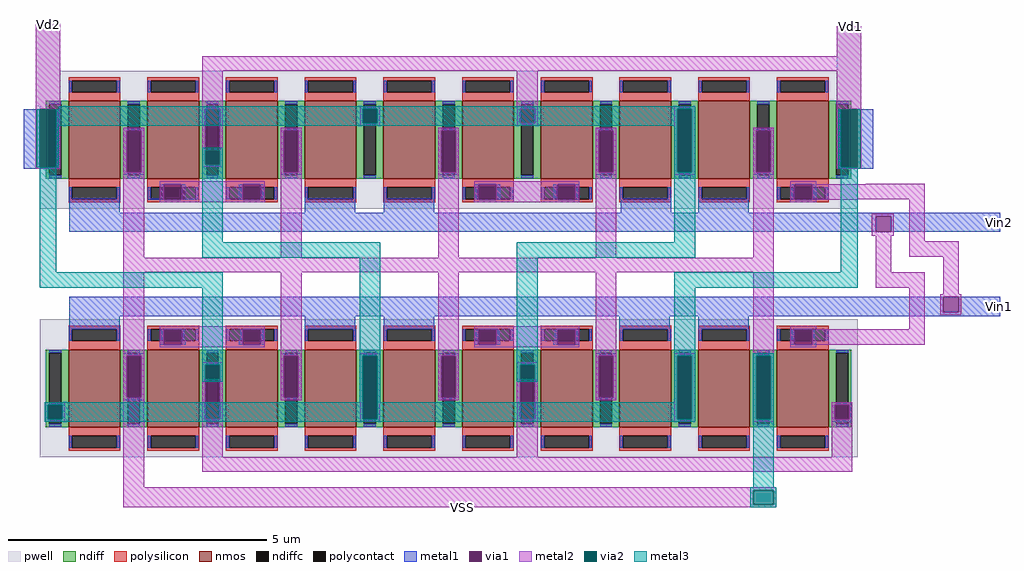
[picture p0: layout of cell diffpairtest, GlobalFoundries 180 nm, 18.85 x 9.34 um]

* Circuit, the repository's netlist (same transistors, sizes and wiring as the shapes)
* NGSPICE file created from diffpairtest.ext - technology: gf180mcuD

.subckt diffpairtest Vin1 VSS Vd1 Vd2 Vin2
X0 VSS a_10376_2164# Vd2 VSUBS nfet_03v3 ad=0.39p pd=2.02u as=0.39p ps=2.02u w=1.5u l=1u
X1 VSS Vin2 Vd2 VSUBS nfet_03v3 ad=0.39p pd=2.02u as=0.39p ps=2.02u w=1.5u l=1u
X2 VSS a_10376_3124# Vd1 VSUBS nfet_03v3 ad=0.39p pd=2.02u as=0.39p ps=2.02u w=1.5u l=1u
X3 Vd1 Vin1 VSS VSUBS nfet_03v3 ad=0.39p pd=2.02u as=0.39p ps=2.02u w=1.5u l=1u
X4 VSS Vin1 Vd1 VSUBS nfet_03v3 ad=0.39p pd=2.02u as=0.66p ps=3.88u w=1.5u l=1u
X5 Vd1 Vin1 VSS VSUBS nfet_03v3 ad=0.39p pd=2.02u as=0.39p ps=2.02u w=1.5u l=1u
X6 Vd2 a_11592_2164# VSS VSUBS nfet_03v3 ad=0.39p pd=2.02u as=0.39p ps=2.02u w=1.5u l=1u
X7 Vd2 Vin2 VSS VSUBS nfet_03v3 ad=0.39p pd=2.02u as=0.39p ps=2.02u w=1.5u l=1u
X8 VSS Vin2 Vd2 VSUBS nfet_03v3 ad=0.39p pd=2.02u as=0.66p ps=3.88u w=1.5u l=1u
X9 Vd2 Vin2 VSS VSUBS nfet_03v3 ad=0.39p pd=2.02u as=0.39p ps=2.02u w=1.5u l=1u
X10 VSS Vin1 Vd1 VSUBS nfet_03v3 ad=0.39p pd=2.02u as=0.39p ps=2.02u w=1.5u l=1u
X11 Vd2 a_10376_2164# VSS VSUBS nfet_03v3 ad=0.39p pd=2.02u as=0.39p ps=2.02u w=1.5u l=1u
X12 Vd1 a_11592_3124# VSS VSUBS nfet_03v3 ad=0.39p pd=2.02u as=0.39p ps=2.02u w=1.5u l=1u
X13 VSS a_11592_2164# Vd2 VSUBS nfet_03v3 ad=0.39p pd=2.02u as=0.39p ps=2.02u w=1.5u l=1u
X14 VSS Vin2 Vd2 VSUBS nfet_03v3 ad=0.39p pd=2.02u as=0.39p ps=2.02u w=1.5u l=1u
X15 Vd1 a_10376_3124# VSS VSUBS nfet_03v3 ad=0.39p pd=2.02u as=0.39p ps=2.02u w=1.5u l=1u
X16 Vd2 Vin2 VSS VSUBS nfet_03v3 ad=0.66p pd=3.88u as=0.39p ps=2.02u w=1.5u l=1u
X17 VSS a_11592_3124# Vd1 VSUBS nfet_03v3 ad=0.39p pd=2.02u as=0.39p ps=2.02u w=1.5u l=1u
X18 VSS Vin1 Vd1 VSUBS nfet_03v3 ad=0.39p pd=2.02u as=0.39p ps=2.02u w=1.5u l=1u
X19 Vd1 Vin1 VSS VSUBS nfet_03v3 ad=0.66p pd=3.88u as=0.39p ps=2.02u w=1.5u l=1u
.ends

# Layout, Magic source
magic
tech gf180mcuD
magscale 1 10
<< pwell >>
rect 9945 3495 10040 3814
rect 13040 3485 13135 3804
rect 13055 3235 13120 3250
rect 10430 3135 10520 3205
rect 10430 3125 10520 3130
rect 10588 2140 10668 2235
<< polysilicon >>
rect 10430 3135 10520 3205
rect 10430 3125 10520 3130
<< metal1 >>
rect 10588 3486 10668 3496
rect 9900 3260 9960 3485
rect 10025 3260 10035 3485
rect 9900 3255 10035 3260
rect 10284 3402 10364 3412
rect 10284 3241 10296 3402
rect 10352 3241 10364 3402
rect 10588 3269 10600 3486
rect 10656 3269 10668 3486
rect 11196 3486 11276 3496
rect 11196 3430 11208 3486
rect 11264 3430 11276 3486
rect 11196 3420 11276 3430
rect 11804 3486 11884 3496
rect 11804 3430 11816 3486
rect 11872 3430 11884 3486
rect 11804 3420 11884 3430
rect 12412 3486 12492 3496
rect 10588 3261 10668 3269
rect 10892 3402 10972 3412
rect 10284 3231 10364 3241
rect 10892 3241 10904 3402
rect 10960 3241 10972 3402
rect 10892 3231 10972 3241
rect 11500 3402 11580 3412
rect 11500 3241 11512 3402
rect 11568 3241 11580 3402
rect 11500 3231 11580 3241
rect 12108 3402 12188 3412
rect 12108 3241 12120 3402
rect 12176 3241 12188 3402
rect 12108 3231 12188 3241
rect 12412 3241 12424 3486
rect 12480 3241 12492 3486
rect 12412 3231 12492 3241
rect 12716 3402 12796 3412
rect 12716 3241 12728 3402
rect 12784 3241 12796 3402
rect 13045 3260 13055 3485
rect 13120 3260 13180 3485
rect 13045 3255 13180 3260
rect 12716 3231 12796 3241
rect 10425 3140 10440 3195
rect 10075 3085 10270 3140
rect 10380 3135 10440 3140
rect 10510 3140 10525 3195
rect 10510 3135 10565 3140
rect 10730 3135 10745 3195
rect 10815 3135 10830 3195
rect 10985 3085 11180 3140
rect 11290 3085 11485 3140
rect 11640 3135 11655 3195
rect 11725 3135 11740 3195
rect 11945 3135 11960 3195
rect 12030 3135 12045 3195
rect 12205 3085 12400 3140
rect 12505 3085 12700 3140
rect 12860 3135 12875 3195
rect 12945 3135 12960 3195
rect 10075 3070 13670 3085
rect 10075 3010 13190 3070
rect 13250 3010 13670 3070
rect 10075 2700 13450 2760
rect 13510 2700 13670 2760
rect 10075 2685 13670 2700
rect 10075 2635 10270 2685
rect 10985 2635 11180 2685
rect 11290 2635 11485 2685
rect 12200 2635 12395 2685
rect 12505 2635 12700 2685
rect 10430 2590 10440 2635
rect 10425 2575 10440 2590
rect 10510 2590 10520 2635
rect 10735 2590 10745 2635
rect 10510 2575 10525 2590
rect 10730 2575 10745 2590
rect 10815 2590 10825 2635
rect 11645 2590 11655 2635
rect 10815 2575 10830 2590
rect 11640 2575 11655 2590
rect 11725 2590 11735 2635
rect 11950 2590 11960 2635
rect 11725 2575 11740 2590
rect 11945 2575 11960 2590
rect 12030 2590 12040 2635
rect 12865 2590 12875 2635
rect 12030 2575 12045 2590
rect 12860 2575 12875 2590
rect 12945 2590 12955 2635
rect 12945 2575 12960 2590
rect 10284 2531 10364 2541
rect 10284 2370 10296 2531
rect 10352 2370 10364 2531
rect 10892 2531 10972 2541
rect 10284 2360 10364 2370
rect 10588 2497 10668 2507
rect 9980 2342 10060 2352
rect 9980 2286 9992 2342
rect 10048 2286 10060 2342
rect 9980 2276 10060 2286
rect 10588 2286 10600 2497
rect 10656 2286 10668 2497
rect 10892 2370 10904 2531
rect 10960 2370 10972 2531
rect 10892 2360 10972 2370
rect 11196 2531 11276 2541
rect 10588 2276 10668 2286
rect 11196 2286 11208 2531
rect 11264 2286 11276 2531
rect 11500 2531 11580 2541
rect 11500 2370 11512 2531
rect 11568 2370 11580 2531
rect 12108 2531 12188 2541
rect 11500 2360 11580 2370
rect 11804 2497 11884 2507
rect 11196 2276 11276 2286
rect 11804 2286 11816 2497
rect 11872 2286 11884 2497
rect 12108 2370 12120 2531
rect 12176 2370 12188 2531
rect 12108 2360 12188 2370
rect 12412 2531 12492 2541
rect 11804 2276 11884 2286
rect 12412 2286 12424 2531
rect 12480 2286 12492 2531
rect 12412 2276 12492 2286
rect 12716 2531 12796 2541
rect 12716 2286 12728 2531
rect 12784 2286 12796 2531
rect 12716 2276 12796 2286
rect 13020 2343 13100 2353
rect 13020 2286 13032 2343
rect 13088 2286 13100 2343
rect 13020 2276 13100 2286
<< via1 >>
rect 9960 3260 10025 3485
rect 10296 3241 10352 3402
rect 10600 3269 10656 3486
rect 11208 3430 11264 3486
rect 11816 3430 11872 3486
rect 10904 3241 10960 3402
rect 11512 3241 11568 3402
rect 12120 3241 12176 3402
rect 12424 3241 12480 3486
rect 12728 3241 12784 3402
rect 13055 3260 13120 3485
rect 10440 3135 10510 3195
rect 10745 3135 10815 3195
rect 11655 3135 11725 3195
rect 11960 3135 12030 3195
rect 12875 3135 12945 3195
rect 13190 3010 13250 3070
rect 13450 2700 13510 2760
rect 10440 2575 10510 2635
rect 10745 2575 10815 2635
rect 11655 2575 11725 2635
rect 11960 2575 12030 2635
rect 12875 2575 12945 2635
rect 10296 2370 10352 2531
rect 9992 2286 10048 2342
rect 10600 2286 10656 2497
rect 10904 2370 10960 2531
rect 11208 2286 11264 2531
rect 11512 2370 11568 2531
rect 11816 2286 11872 2497
rect 12120 2370 12176 2531
rect 12424 2286 12480 2531
rect 12728 2286 12784 2531
rect 13032 2286 13088 2343
<< metal2 >>
rect 9945 3485 10040 3814
rect 13040 3688 13135 3804
rect 9945 3260 9960 3485
rect 10025 3260 10040 3485
rect 10588 3632 13135 3688
rect 10588 3486 10668 3632
rect 9945 3255 10040 3260
rect 10284 3402 10364 3412
rect 10284 3241 10296 3402
rect 10352 3241 10364 3402
rect 10588 3269 10600 3486
rect 10656 3269 10668 3486
rect 11196 3486 11276 3496
rect 11196 3430 11208 3486
rect 11264 3430 11276 3486
rect 11196 3420 11276 3430
rect 11804 3486 11884 3632
rect 11804 3430 11816 3486
rect 11872 3430 11884 3486
rect 11804 3420 11884 3430
rect 12412 3486 12492 3496
rect 10588 3261 10668 3269
rect 10892 3402 10972 3412
rect 10284 2911 10364 3241
rect 10892 3241 10904 3402
rect 10960 3241 10972 3402
rect 10425 3195 10830 3205
rect 10425 3135 10440 3195
rect 10510 3135 10745 3195
rect 10815 3135 10830 3195
rect 10425 3125 10830 3135
rect 10892 2911 10972 3241
rect 11500 3402 11580 3412
rect 11500 3241 11512 3402
rect 11568 3241 11580 3402
rect 11500 2911 11580 3241
rect 12108 3402 12188 3412
rect 12108 3241 12120 3402
rect 12176 3241 12188 3402
rect 11640 3195 12045 3205
rect 11640 3135 11655 3195
rect 11725 3135 11960 3195
rect 12030 3135 12045 3195
rect 11640 3125 12045 3135
rect 12108 2911 12188 3241
rect 12412 3241 12424 3486
rect 12480 3241 12492 3486
rect 13040 3485 13135 3632
rect 12412 3231 12492 3241
rect 12716 3402 12796 3412
rect 12716 3241 12728 3402
rect 12784 3241 12796 3402
rect 13040 3260 13055 3485
rect 13120 3260 13135 3485
rect 13040 3255 13135 3260
rect 12716 2911 12796 3241
rect 12860 3195 12960 3205
rect 13154 3195 13380 3196
rect 12860 3135 12875 3195
rect 12945 3136 13380 3195
rect 12945 3135 13119 3136
rect 12860 3125 12960 3135
rect 13175 3070 13260 3080
rect 13175 3010 13190 3070
rect 13250 3010 13260 3070
rect 13175 2995 13260 3010
rect 10284 2855 12796 2911
rect 10284 2531 10364 2855
rect 10425 2635 10830 2645
rect 10425 2575 10440 2635
rect 10510 2575 10745 2635
rect 10815 2575 10830 2635
rect 10425 2565 10830 2575
rect 10284 2370 10296 2531
rect 10352 2370 10364 2531
rect 10892 2531 10972 2855
rect 9980 2342 10060 2352
rect 9980 2286 9992 2342
rect 10048 2286 10060 2342
rect 9980 2276 10060 2286
rect 10284 2024 10364 2370
rect 10588 2497 10668 2507
rect 10588 2286 10600 2497
rect 10656 2286 10668 2497
rect 10892 2370 10904 2531
rect 10960 2370 10972 2531
rect 10892 2360 10972 2370
rect 11196 2531 11276 2541
rect 10588 2140 10668 2286
rect 11196 2286 11208 2531
rect 11264 2286 11276 2531
rect 11500 2531 11580 2855
rect 11640 2635 12045 2645
rect 11640 2575 11655 2635
rect 11725 2575 11960 2635
rect 12030 2575 12045 2635
rect 11640 2565 12045 2575
rect 11500 2370 11512 2531
rect 11568 2370 11580 2531
rect 12108 2531 12188 2855
rect 11500 2360 11580 2370
rect 11804 2497 11884 2507
rect 11196 2276 11276 2286
rect 11804 2286 11816 2497
rect 11872 2286 11884 2497
rect 12108 2370 12120 2531
rect 12176 2370 12188 2531
rect 12108 2360 12188 2370
rect 12412 2531 12492 2541
rect 11804 2140 11884 2286
rect 12412 2286 12424 2531
rect 12480 2286 12492 2531
rect 12412 2276 12492 2286
rect 12716 2531 12796 2855
rect 13190 2855 13250 2995
rect 13320 2975 13380 3136
rect 13320 2915 13510 2975
rect 13190 2795 13380 2855
rect 12860 2635 12960 2645
rect 13320 2635 13380 2795
rect 13450 2770 13510 2915
rect 13440 2760 13520 2770
rect 13440 2700 13450 2760
rect 13510 2700 13520 2760
rect 13440 2690 13520 2700
rect 12860 2575 12875 2635
rect 12945 2575 13380 2635
rect 12860 2565 12960 2575
rect 12716 2286 12728 2531
rect 12784 2286 12796 2531
rect 12716 2276 12796 2286
rect 13020 2343 13100 2353
rect 13020 2286 13032 2343
rect 13088 2286 13100 2343
rect 13020 2140 13100 2286
rect 10588 2084 13100 2140
rect 10284 2013 12806 2024
rect 10284 1957 12716 2013
rect 12796 1957 12806 2013
rect 10284 1947 12806 1957
<< via2 >>
rect 9960 3260 10025 3485
rect 10600 3269 10656 3325
rect 11208 3430 11264 3486
rect 12424 3241 12480 3486
rect 13055 3260 13120 3485
rect 9992 2286 10048 2342
rect 10600 2441 10656 2497
rect 11208 2286 11264 2531
rect 11816 2441 11872 2497
rect 12424 2286 12480 2531
rect 12728 2286 12784 2531
rect 12716 1957 12796 2013
<< metal3 >>
rect 10035 3486 12492 3496
rect 10035 3485 11208 3486
rect 9950 3260 9960 3485
rect 10025 3430 11208 3485
rect 11264 3430 12424 3486
rect 10025 3420 12424 3430
rect 10025 3260 10035 3420
rect 10588 3325 10668 3335
rect 10588 3269 10600 3325
rect 10656 3269 10668 3325
rect 9960 2855 10025 3260
rect 10588 2971 10668 3269
rect 12412 3241 12424 3420
rect 12480 3241 12492 3486
rect 13045 3260 13055 3485
rect 13120 3260 13130 3485
rect 13045 3255 13130 3260
rect 12412 2971 12492 3241
rect 10588 2911 11276 2971
rect 9960 2795 10668 2855
rect 10588 2497 10668 2795
rect 10588 2441 10600 2497
rect 10656 2441 10668 2497
rect 10588 2431 10668 2441
rect 11196 2531 11276 2911
rect 11196 2352 11208 2531
rect 9980 2342 11208 2352
rect 9980 2286 9992 2342
rect 10048 2286 11208 2342
rect 11264 2352 11276 2531
rect 11804 2911 12492 2971
rect 11804 2497 11884 2911
rect 13055 2855 13120 3255
rect 11804 2441 11816 2497
rect 11872 2441 11884 2497
rect 11804 2431 11884 2441
rect 12412 2795 13120 2855
rect 12412 2531 12492 2795
rect 12412 2352 12424 2531
rect 11264 2286 12424 2352
rect 12480 2286 12492 2531
rect 9980 2276 12492 2286
rect 12716 2531 12796 2541
rect 12716 2286 12728 2531
rect 12784 2286 12796 2531
rect 12716 2024 12796 2286
rect 12706 2013 12806 2024
rect 12706 1957 12716 2013
rect 12796 1957 12806 2013
rect 12706 1947 12806 1957
use nfet_03v3_RPTYYZ  nfet_03v3_RPTYYZ_0
transform 1 0 12300 0 1 3366
box -820 -266 820 266
use nfet_03v3_RPTYYZ  XM9
transform 1 0 10780 0 1 2406
box -820 -266 820 266
use nfet_03v3_RPTYYZ  XM10
transform 1 0 12300 0 1 2406
box -820 -266 820 266
use nfet_03v3_RPTYYZ  XM20
transform 1 0 10780 0 1 3366
box -820 -266 820 266
<< labels >>
rlabel metal2 11592 1947 11592 1947 5 VSS
port 2 s
rlabel metal1 13668 2721 13668 2721 3 Vin1
port 1 e
rlabel metal2 13092 3804 13092 3804 1 Vd1
port 3 n
rlabel metal2 9996 3813 9996 3813 1 Vd2
port 4 n
rlabel metal1 13668 3048 13668 3048 3 Vin2
port 5 e
<< end >>

# cell nfet_03v3_RPTYYZ: kit device nfet_03v3, w 1.5 l 1.0 m 1 nf 5 diffcov 100 polycov 100 guard 0 glc 1 grc 1 gtc 0 gbc 0 tbcov 100 rlcov 100 topc 1 botc 1 poverlap 0 doverlap 1 lmin 0.28 wmin 0.22 class mosfet full_metal 0 compatible {nfet_03v3 nfet_06v0 nfet_06v0_nvt}
